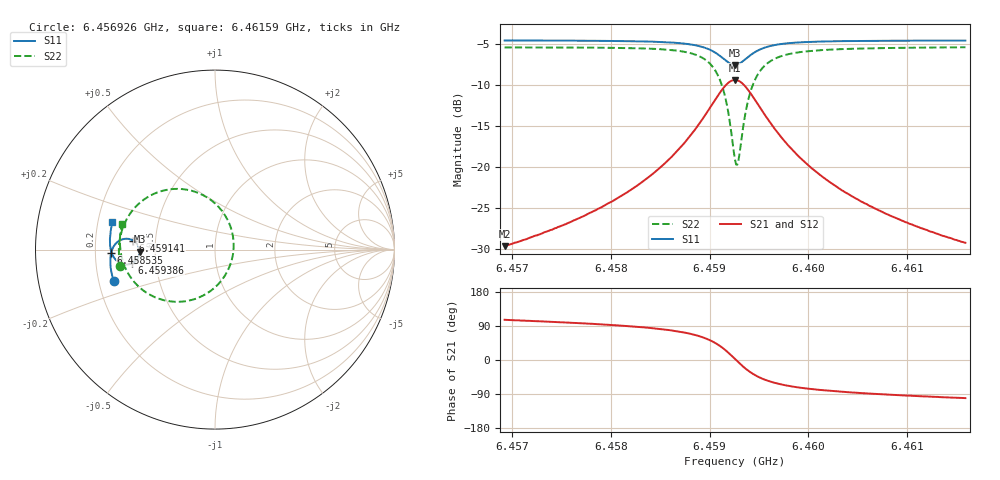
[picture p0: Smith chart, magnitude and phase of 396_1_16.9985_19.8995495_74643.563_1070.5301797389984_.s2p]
#  HZ  S  RI  R  50.00
! Rohde & Schwarz Vector Network Analyzer
! Rohde-Schwarz,ZNB20-2Port,1311601062101988,3.16
! Created: UTC 3/20/2024, 11:09:50 PM
! freq[Hz]  re:S11  im:S11  re:S21  im:S21  re:S12  im:S12  re:S22  im:S22
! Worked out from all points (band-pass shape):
!   401 points, 6.456926 GHz to 6.46159 GHz, reference 50 ohm
!   highest |S21| = -9.36 dB at 6.459258 GHz (marker M1); lowest = -29.6 dB at 6.456926 GHz (marker M2)
!   |S21| within 3 dB of the highest: 6.459025 GHz to 6.459492 GHz (466.7 kHz wide, 0.00722 % of centre)
!   lowest |S11| = -7.5 dB at 6.459258 GHz (marker M3), VSWR 2.45, Z = 20.4 - j0.553 ohm
!   |S11| at or under -10 dB: nowhere
!   |S22| runs from -19.7 to -5.4 dB; largest |S21 - S12| = 0.013
!   S11 on the Smith chart (normalised r, x): 6.456926 GHz: 0.26, -0.14; 6.458535 GHz: 0.27, -0.01; 6.459141 GHz: 0.37, +0.05; 6.459386 GHz: 0.37, -0.07; 6.46159 GHz: 0.26, +0.12
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6.4569263e9  -0.5655 -0.1761  -0.00919 0.0318  -0.00733 0.0318  -0.5293 -0.0892
6.4577074e9  -0.5802 -0.1081  -0.00599 0.0495  -0.0034 0.0489  -0.5357 0.000887
6.4581271e9  -0.5833 -0.0664  -0.000384 0.0682  0.00272 0.0668  -0.5288 0.0661
6.4584885e9  -0.5798 -0.0238  0.0133 0.0973  0.0172 0.0946  -0.504 0.1455
6.4585352e9  -0.5784 -0.0176  0.0166 0.1026  0.0207 0.0997  -0.4978 0.1586
6.458745e9  -0.5665 0.0143  0.0422 0.1339  0.0464 0.1293  -0.45 0.2298
6.4588966e9  -0.5456 0.0406  0.0842 0.1641  0.0875 0.1576  -0.3729 0.294
6.4590481e9  -0.5002 0.0603  0.1746 0.1833  0.1756 0.176  -0.2077 0.3384
6.4591414e9  -0.4561 0.0505  0.2634 0.1531  0.2637 0.1472  -0.0436 0.2902
6.459188e9  -0.4352 0.0323  0.3066 0.1109  0.3078 0.1059  0.0386 0.2158
6.459258e9  -0.4204 -0.0112  0.34 0.0158  0.3434 0.00895  0.1039 0.0393
6.4592696e9  -0.4208 -0.019  0.34 -0.00184  0.3437 -0.00923  0.1037 0.00629
6.4592929e9  -0.4243 -0.0345  0.3346 -0.036  0.3383 -0.0449  0.0931 -0.0585
6.4593396e9  -0.4395 -0.0601  0.3068 -0.0954  0.3088 -0.1068  0.0374 -0.1702
6.4593862e9  -0.4612 -0.0762  0.2655 -0.136  0.2648 -0.1488  -0.0458 -0.2444
6.4594795e9  -0.504 -0.0829  0.1821 -0.167  0.1762 -0.1783  -0.2117 -0.2909
6.459631e9  -0.5473 -0.0624  0.0954 -0.1538  0.0871 -0.1599  -0.3769 -0.2432
6.4597942e9  -0.5686 -0.0349  0.051 -0.1264  0.0436 -0.1292  -0.4565 -0.1725
6.4600391e9  -0.5811 0.00074  0.0222 -0.0955  0.0165 -0.0962  -0.5042 -0.0911
6.4603888e9  -0.5855 0.0418  0.00633 -0.0692  0.00237 -0.0689  -0.5257 -0.0129
6.4608202e9  -0.5836 0.0849  -0.00132 -0.051  -0.00418 -0.0502  -0.53 0.0552
6.4615896e9  -0.5711 0.1529  -0.00633 -0.0341  -0.0081 -0.0331  -0.5186 0.1448
